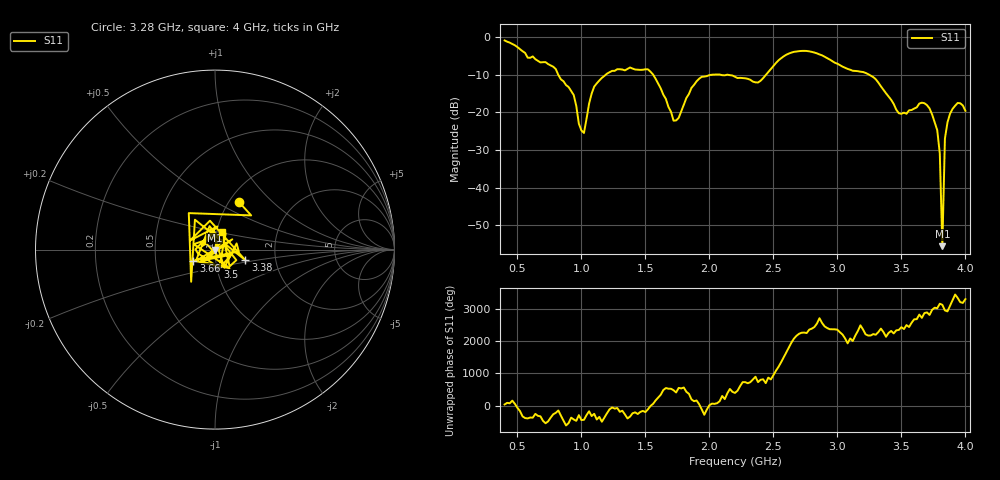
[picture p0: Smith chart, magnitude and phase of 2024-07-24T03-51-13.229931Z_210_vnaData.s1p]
!Created with skrf (http://scikit-rf.org).
# Hz S RI R 50.0
!freq ReS11 ImS11
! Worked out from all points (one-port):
!   181 points, 400 MHz to 4 GHz, reference 50 ohm
!   lowest |S11| = -55.6 dB at 3.82 GHz (marker M1), VSWR 1.00, Z = 49.9 - j0.156 ohm
!   |S11| at or under -10 dB: 819.8 MHz to 1.188 GHz (368.1 MHz wide, 36.7 % of centre); 1.562 GHz to 2.005 GHz (443 MHz wide, 24.8 % of centre); 3.251 GHz to end of sweep (the widest 3 of 5)
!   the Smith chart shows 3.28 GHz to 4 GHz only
!   S11 on the Smith chart (normalised r, x): 3.28 GHz: 1.11, +0.65; 3.38 GHz: 1.40, -0.17; 3.5 GHz: 1.01, -0.19; 3.66 GHz: 0.78, -0.10; 4 GHz: 1.06, +0.21
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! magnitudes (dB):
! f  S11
! 400 MHz  -0.8
! 860 MHz  -11.7
! 940 MHz  -15.3
! 980 MHz  -23.0
! 1.02 GHz  -25.5
! 1.1 GHz  -13.1
! 1.3 GHz  -8.5
! 1.52 GHz  -8.5
! 1.72 GHz  -22.2
! 1.76 GHz  -21.4
! 1.94 GHz  -10.5
! 2.2 GHz  -10.5
! 2.38 GHz  -12.0
! 2.66 GHz  -3.8
! 3.1 GHz  -8.6
! 3.28 GHz  -10.6
! 3.38 GHz  -14.9
! 3.5 GHz  -20.4
! 3.56 GHz  -19.4
! 3.66 GHz  -17.4
! 3.72 GHz  -18.9
! 3.78 GHz  -24.7
! 3.8 GHz  -30.9
! 3.82 GHz  -55.6
! 3.84 GHz  -27.0
! 3.86 GHz  -22.6
! 3.94 GHz  -17.5
! 4 GHz  -19.5
